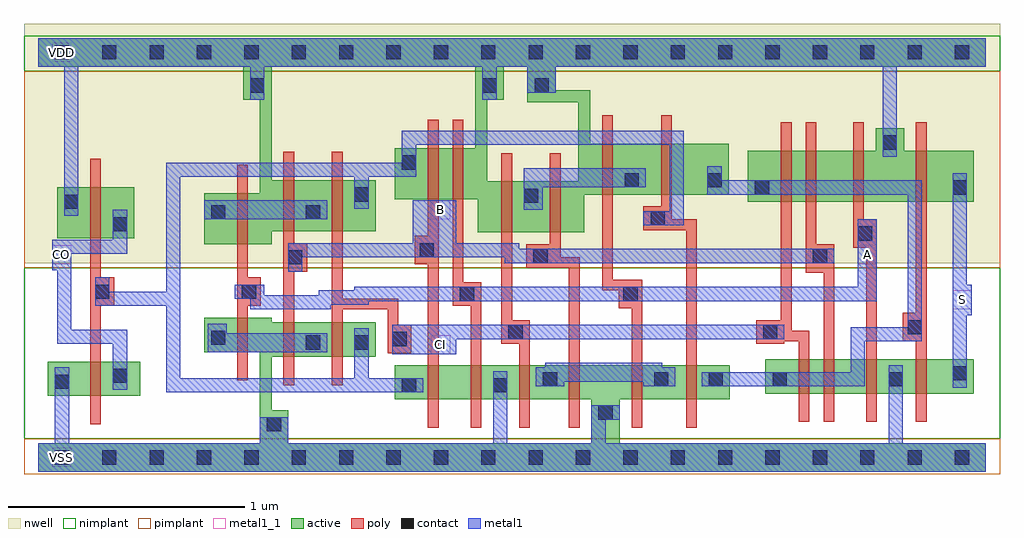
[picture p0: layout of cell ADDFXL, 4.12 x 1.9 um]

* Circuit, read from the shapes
.subckt ADDFXL A B CI CO S VDD VSS
M1 CO n1 VSS VSS nfet w=0.145u l=0.045u
M2 VSS A n2 VSS nfet w=0.145u l=0.045u
M3 n2 B VSS VSS nfet w=0.145u l=0.045u
M4 n1 CI n2 VSS nfet w=0.145u l=0.045u
M5 n3 B n1 VSS nfet w=0.145u l=0.045u
M6 VSS A n3 VSS nfet w=0.145u l=0.045u
M7 n4 CI VSS VSS nfet w=0.145u l=0.045u
M8 VSS B n4 VSS nfet w=0.145u l=0.045u
M9 n4 A VSS VSS nfet w=0.145u l=0.045u
M10 n5 n1 n4 VSS nfet w=0.145u l=0.045u
M11 n6 CI n5 VSS nfet w=0.145u l=0.045u
M12 n7 B n6 VSS nfet w=0.145u l=0.045u
M13 VSS A n7 VSS nfet w=0.145u l=0.045u
M14 S n5 VSS VSS nfet w=0.145u l=0.045u
M15 CO n1 VDD VDD pfet w=0.215u l=0.045u
M16 VDD A n8 VDD pfet w=0.215u l=0.045u
M17 n8 B VDD VDD pfet w=0.215u l=0.045u
M18 n1 CI n8 VDD pfet w=0.215u l=0.045u
M19 n9 B n1 VDD pfet w=0.215u l=0.045u
M20 VDD A n9 VDD pfet w=0.215u l=0.045u
M21 n10 CI VDD VDD pfet w=0.215u l=0.045u
M22 VDD B n10 VDD pfet w=0.215u l=0.045u
M23 n10 A VDD VDD pfet w=0.215u l=0.045u
M24 n5 n1 n10 VDD pfet w=0.215u l=0.045u
M25 n11 CI n5 VDD pfet w=0.215u l=0.045u
M26 n12 B n11 VDD pfet w=0.215u l=0.045u
M27 VDD A n12 VDD pfet w=0.215u l=0.045u
M28 S n5 VDD VDD pfet w=0.215u l=0.045u
.ends

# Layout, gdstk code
import gdstk
lib = gdstk.Library(unit=1e-6, precision=5e-10)
def R(c, l, rs):  # rectangles x0, y0, x1, y1
    for r in rs: c.add(gdstk.rectangle(r[:2], r[2:], *l))
def A(c, l, x, y, w, h, nx, ny, dx, dy):  # array of equal rectangles
    R(c, l, [(x+i*dx, y+j*dy, x+i*dx+w, y+j*dy+h) for i in range(nx) for j in range(ny)])
def P(c, l, *ps):  # polygons
    for p in ps: c.add(gdstk.Polygon(p, *l))
active = (1, 0)
nwell = (2, 0)
poly = (3, 0)
nimplant = (4, 0)
pimplant = (5, 0)
contact = (6, 0)
metal1 = (7, 0)
metal1_1 = (7, 1)

addfxl = lib.new_cell('ADDFXL')
R(addfxl, active, [(0.04,0.26,0.43,0.405), (3.07,0.27,3.95,0.415), (0.08,0.925,0.405,1.14)])
P(addfxl, active, [(0,1.77),(4,1.77),(4,1.65),(2.185,1.65),(2.185,1.55),(2.33,1.55),(2.33,1.325),(2.915,1.325),(2.915,1.11),(2.305,1.11),(2.305,0.95),(1.855,0.95),(1.855,1.09),(1.505,1.09),(1.505,1.305),(1.845,1.305),(1.845,1.65),(1.965,1.65),(1.965,1.51),(1.895,1.51),(1.895,1.165),(2.28,1.165),(2.28,1.5),(2.065,1.5),(2.065,1.65),(0.985,1.65),(0.985,1.17),(1.425,1.17),(1.425,0.955),(0.985,0.955),(0.985,0.9),(0.7,0.9),(0.7,1.115),(0.935,1.115),(0.935,1.51),(0.865,1.51),(0.865,1.65),(0,1.65)],
  [(3.535,1.39),(3.655,1.39),(3.655,1.295),(3.95,1.295),(3.95,1.08),(2.995,1.08),(2.995,1.295),(3.535,1.295)],
  [(0.7,0.59),(0.985,0.59),(0.985,0.57),(1.425,0.57),(1.425,0.425),(0.985,0.425),(0.985,0.2),(1.055,0.2),(1.055,0.06),(2.335,0.06),(2.335,0.245),(1.505,0.245),(1.505,0.39),(2.92,0.39),(2.92,0.245),(2.455,0.245),(2.455,0.06),(4,0.06),(4,-0.06),(0,-0.06),(0,0.06),(0.935,0.06),(0.935,0.445),(0.7,0.445)])
R(addfxl, nwell, [(-0.06,0.82,4.06,1.83)])
P(addfxl, poly, [(0.22,1.26),(0.265,1.26),(0.265,0.76),(0.32,0.76),(0.32,0.64),(0.265,0.64),(0.265,0.14),(0.22,0.14)],
  [(0.84,1.235),(0.885,1.235),(0.885,0.76),(0.94,0.76),(0.94,0.64),(0.885,0.64),(0.885,0.325),(0.84,0.325)],
  [(1.035,1.29),(1.08,1.29),(1.08,0.905),(1.135,0.905),(1.135,0.785),(1.08,0.785),(1.08,0.305),(1.035,0.305)],
  [(1.24,1.29),(1.285,1.29),(1.285,0.67),(1.52,0.67),(1.52,0.56),(1.575,0.56),(1.575,0.44),(1.475,0.44),(1.475,0.625),(1.285,0.625),(1.285,0.305),(1.24,0.305)],
  [(1.645,1.425),(1.69,1.425),(1.69,0.125),(1.645,0.125),(1.645,0.815),(1.59,0.815),(1.59,0.935),(1.645,0.935)],
  [(1.75,1.425),(1.795,1.425),(1.795,0.74),(1.87,0.74),(1.87,0.125),(1.825,0.125),(1.825,0.64),(1.75,0.64)],
  [(2.38,1.445),(2.425,1.445),(2.425,0.75),(2.55,0.75),(2.55,0.125),(2.505,0.125),(2.505,0.63),(2.45,0.63),(2.45,0.705),(2.38,0.705)],
  [(2.63,1.445),(2.675,1.445),(2.675,1.005),(2.78,1.005),(2.78,0.125),(2.735,0.125),(2.735,0.96),(2.555,0.96),(2.555,1.06),(2.63,1.06)],
  [(3.135,1.415),(3.18,1.415),(3.18,0.535),(3.255,0.535),(3.255,0.15),(3.21,0.15),(3.21,0.49),(3.15,0.49),(3.15,0.48),(3.03,0.48),(3.03,0.58),(3.135,0.58)],
  [(3.24,1.415),(3.285,1.415),(3.285,0.9),(3.36,0.9),(3.36,0.15),(3.315,0.15),(3.315,0.78),(3.24,0.78)],
  [(3.44,1.415),(3.485,1.415),(3.485,1.005),(3.54,1.005),(3.54,0.15),(3.495,0.15),(3.495,0.885),(3.44,0.885)],
  [(3.705,1.415),(3.75,1.415),(3.75,0.15),(3.705,0.15),(3.705,0.49),(3.65,0.49),(3.65,0.61),(3.705,0.61)],
  [(1.955,1.285),(2,1.285),(2,0.58),(2.075,0.58),(2.075,0.125),(2.03,0.125),(2.03,0.48),(1.955,0.48)],
  [(2.16,1.285),(2.205,1.285),(2.205,0.845),(2.285,0.845),(2.285,0.125),(2.24,0.125),(2.24,0.8),(2.06,0.8),(2.06,0.9),(2.16,0.9)])
R(addfxl, nimplant, [(-0.06,0.08,4.06,0.8), (-0.06,1.63,4.06,1.78)])
R(addfxl, pimplant, [(-0.06,-0.07,4.06,0.08), (-0.06,0.8,4.06,1.63)])
A(addfxl, contact, 0.07, -0.03, 0.06, 0.06, 20, 2, 0.2, 1.71)
R(addfxl, contact, [(0.965,0.11,1.025,0.17), (2.365,0.16,2.425,0.22), (1.535,0.275,1.595,0.335), (1.92,0.275,1.98,0.335), (0.07,0.29,0.13,0.35), (2.13,0.3,2.19,0.36), (2.6,0.3,2.66,0.36), (2.83,0.3,2.89,0.36), (3.1,0.3,3.16,0.36), (3.59,0.3,3.65,0.36), (0.315,0.315,0.375,0.375), (3.86,0.325,3.92,0.385), (1.13,0.455,1.19,0.515), (1.335,0.455,1.395,0.515), (1.495,0.47,1.555,0.53), (0.73,0.475,0.79,0.535), (1.985,0.5,2.045,0.56), (3.06,0.5,3.12,0.56), (3.67,0.52,3.73,0.58), (1.78,0.66,1.84,0.72), (2.47,0.66,2.53,0.72), (0.24,0.67,0.3,0.73), (0.86,0.67,0.92,0.73), (1.055,0.815,1.115,0.875), (2.09,0.82,2.15,0.88), (3.27,0.82,3.33,0.88), (1.61,0.845,1.67,0.905), (3.46,0.915,3.52,0.975), (0.315,0.955,0.375,1.015), (2.585,0.98,2.645,1.04), (0.73,1.005,0.79,1.065), (1.13,1.005,1.19,1.065), (0.11,1.05,0.17,1.11), (2.05,1.075,2.11,1.135), (1.335,1.08,1.395,1.14), (3.025,1.11,3.085,1.17), (3.86,1.11,3.92,1.17), (2.475,1.14,2.535,1.2), (2.825,1.14,2.885,1.2), (1.535,1.215,1.595,1.275), (3.565,1.3,3.625,1.36), (0.895,1.54,0.955,1.6), (1.875,1.54,1.935,1.6), (2.095,1.54,2.155,1.6)])
R(addfxl, metal1, [(0.7,1.005,1.22,1.085)])
P(addfxl, metal1, [(0,1.77),(4,1.77),(4,1.65),(3.625,1.65),(3.625,1.27),(3.565,1.27),(3.565,1.65),(2.185,1.65),(2.185,1.54),(2.065,1.54),(2.065,1.65),(1.935,1.65),(1.935,1.51),(1.875,1.51),(1.875,1.65),(0.955,1.65),(0.955,1.51),(0.895,1.51),(0.895,1.65),(0.17,1.65),(0.17,1.02),(0.11,1.02),(0.11,1.65),(0,1.65)],
  [(1.535,1.38),(2.725,1.38),(2.725,0.98),(2.555,0.98),(2.555,1.04),(2.665,1.04),(2.665,1.32),(1.595,1.32),(1.595,1.185),(1.395,1.185),(1.395,1.05),(1.335,1.05),(1.335,1.185),(0.6,1.185),(0.6,0.335),(1.335,0.335),(1.335,0.545),(1.395,0.545),(1.395,0.335),(1.625,0.335),(1.625,0.275),(0.54,0.275),(0.54,0.64),(0.24,0.64),(0.24,0.76),(0.3,0.76),(0.3,0.7),(0.54,0.7),(0.54,1.245),(1.535,1.245)],
  [(0.315,1.045),(0.375,1.045),(0.375,0.86),(0.14,0.86),(0.14,0.54),(0.375,0.54),(0.375,0.285),(0.315,0.285),(0.315,0.48),(0.08,0.48),(0.08,0.79),(0.06,0.79),(0.06,0.92),(0.315,0.92)],
  [(2.05,1.22),(2.565,1.22),(2.565,1.14),(2.13,1.14),(2.13,1.045),(2.05,1.045)],
  [(1.58,1.085),(1.765,1.085),(1.765,0.905),(2.03,0.905),(2.03,0.88),(3.36,0.88),(3.36,0.82),(1.97,0.82),(1.97,0.845),(1.115,0.845),(1.115,0.785),(1.055,0.785),(1.055,0.905),(1.58,0.905)],
  [(2.825,1.23),(2.885,1.23),(2.885,1.17),(3.73,1.17),(3.73,0.49),(3.49,0.49),(3.49,0.3),(2.8,0.3),(2.8,0.36),(3.43,0.36),(3.43,0.55),(3.67,0.55),(3.67,1.11),(2.825,1.11)],
  [(3.86,1.2),(3.92,1.2),(3.92,0.73),(3.94,0.73),(3.94,0.6),(3.92,0.6),(3.92,0.295),(3.86,0.295)],
  [(0.83,0.73),(0.955,0.73),(0.955,0.685),(1.185,0.685),(1.185,0.705),(1.335,0.705),(1.335,0.72),(3.46,0.72),(3.46,1.005),(3.54,1.005),(3.54,0.66),(1.395,0.66),(1.395,0.645),(1.235,0.645),(1.235,0.625),(0.895,0.625),(0.895,0.67),(0.83,0.67)],
  [(0.07,0.38),(0.13,0.38),(0.13,0.06),(0.935,0.06),(0.935,0.17),(1.055,0.17),(1.055,0.06),(1.92,0.06),(1.92,0.365),(1.98,0.365),(1.98,0.06),(2.335,0.06),(2.335,0.22),(2.455,0.22),(2.455,0.16),(2.395,0.16),(2.395,0.06),(3.59,0.06),(3.59,0.39),(3.65,0.39),(3.65,0.06),(4,0.06),(4,-0.06),(0,-0.06),(0,0.06),(0.07,0.06)],
  [(0.715,0.565),(0.795,0.565),(0.795,0.525),(1.22,0.525),(1.22,0.445),(0.715,0.445)],
  [(1.495,0.56),(3.15,0.56),(3.15,0.5),(1.765,0.5),(1.765,0.435),(1.495,0.435)],
  [(2.14,0.4),(2.635,0.4),(2.635,0.38),(2.69,0.38),(2.69,0.3),(2.555,0.3),(2.555,0.32),(2.22,0.32),(2.22,0.3),(2.1,0.3),(2.1,0.38),(2.14,0.38)])
A(addfxl, metal1_1, 0.06, -0.04, 0.08, 0.08, 1, 3, 0, 0.855)
R(addfxl, metal1_1, [(1.66,0.435,1.74,0.515), (3.86,0.625,3.94,0.705), (3.46,0.815,3.54,0.895), (1.66,1.005,1.74,1.085)])
addfxl.add(gdstk.Label('S', (3.9,0.665), layer=7, texttype=1))
addfxl.add(gdstk.Label('CO', (0.1,0.855), layer=7, texttype=1))
addfxl.add(gdstk.Label('B', (1.7,1.045), layer=7, texttype=1))
addfxl.add(gdstk.Label('A', (3.5,0.855), layer=7, texttype=1))
addfxl.add(gdstk.Label('CI', (1.7,0.475), layer=7, texttype=1))
addfxl.add(gdstk.Label('VDD', (0.1,1.71), layer=7, texttype=1))
addfxl.add(gdstk.Label('VSS', (0.1,0), layer=7, texttype=1))
addfxl.add(gdstk.Label('ADDFXL', (0,0), layer=63, texttype=0))

lib.write_gds('ADDFXL.gds')
